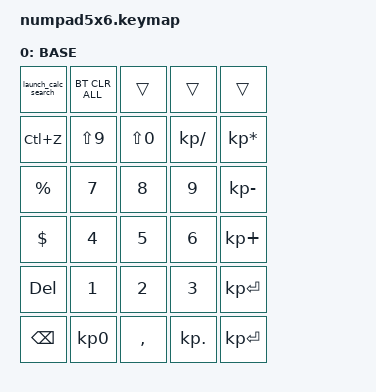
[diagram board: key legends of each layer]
/* SPDX-License-Identifier: MIT */

#include <behaviors.dtsi>
#include <dt-bindings/zmk/bt.h>
#include <dt-bindings/zmk/keys.h>

/ {
    macros {
        launch_calc_search: launch_calc_search {
            compatible = "zmk,behavior-macro";
            #binding-cells = <0>;
            tap-ms = <60>;
            wait-ms = <100>;
            bindings =
                <&kp LG(R)>,
                <&macro_wait_time 150>,
                <&kp C &kp A &kp L &kp C>,
                <&macro_wait_time 500>,
                <&kp ENTER>;
        };
    };

    keymap {
        compatible = "zmk,keymap";

        /* 5 columns x 6 rows = 30 bindings per layer */

        default_layer {
            display-name = "BASE";
            bindings = <
&launch_calc_search  &bt BT_CLR_ALL  &trans      &trans         &trans
&kp LC(Z)            &kp LS(N9)      &kp LS(N0)  &kp KP_DIVIDE  &kp KP_MULTIPLY
&kp PERCENT          &kp N7          &kp N8      &kp N9         &kp KP_MINUS
&kp DOLLAR           &kp N4          &kp N5      &kp N6         &kp KP_PLUS
&kp DEL              &kp N1          &kp N2      &kp N3         &kp KP_ENTER
&kp BSPC             &kp KP_N0       &kp COMMA   &kp KP_DOT     &kp KP_ENTER
            >;
        };
    };
};
